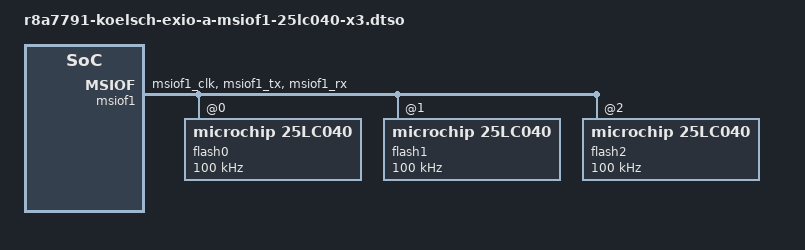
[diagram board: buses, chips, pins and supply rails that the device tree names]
// SPDX-License-Identifier: GPL-2.0
//
// Device Tree Overlay for MSIOF1 and 3x 25LC040 on r8a7791/koelsch EXIO A
//
// Copyright (C) 2017 Glider bvba
//
// Pinout:
//   - SCK = EXIO A pin 46
//   - MOSI = EXIO A pin 54
//   - MISO = EXIO A pin 56
//   - CS0# = EXIO A pin 48
//   - CS1# = EXIO A pin 50
//   - CS2# = EXIO A pin 52

/dts-v1/;
/plugin/;

#include <dt-bindings/gpio/gpio.h>

&pfc {
	msiof1_pins: msiof1 {
		groups = "msiof1_clk", "msiof1_tx", "msiof1_rx";
		function = "msiof1";
	};
};

&msiof1 {
	pinctrl-0 = <&msiof1_pins>;
	pinctrl-names = "default";

	#address-cells = <1>;
	#size-cells = <0>;
	cs-gpios = <&gpio0 23 GPIO_ACTIVE_LOW>,
		   <&gpio0 24 GPIO_ACTIVE_LOW>,
		   <&gpio0 25 GPIO_ACTIVE_LOW>;
	status = "okay";

	flash0: eeprom@0 {
		compatible = "microchip,25lc040", "atmel,at25";
		reg = <0>;

		pagesize = <16>;
		size = <512>;
		address-width = <9>;
		spi-max-frequency = <100000>;
	};

	flash1: eeprom@1 {
		compatible = "microchip,25lc040", "atmel,at25";
		reg = <1>;

		pagesize = <16>;
		size = <512>;
		address-width = <9>;
		spi-max-frequency = <100000>;
	};

	flash2: eeprom@2 {
		compatible = "microchip,25lc040", "atmel,at25";
		reg = <2>;

		pagesize = <16>;
		size = <512>;
		address-width = <9>;
		spi-max-frequency = <100000>;
	};
};
